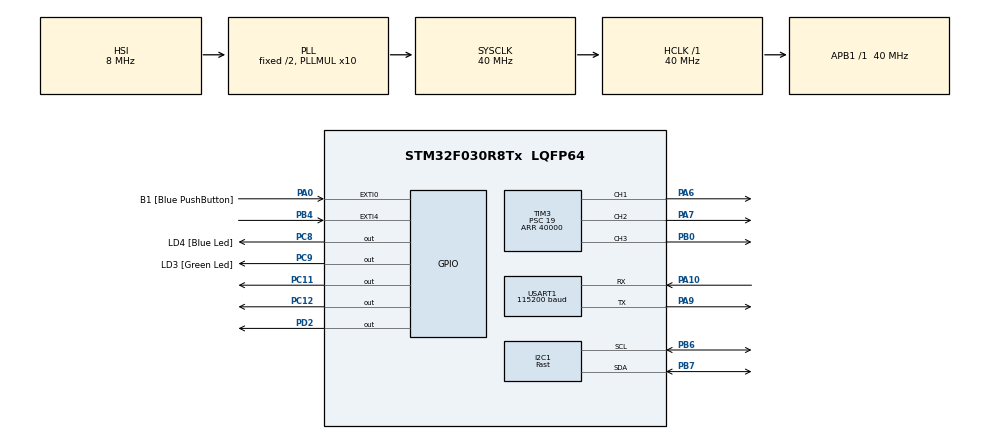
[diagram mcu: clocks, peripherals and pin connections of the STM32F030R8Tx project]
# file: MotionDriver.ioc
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I2C1.I2C_Speed_Mode=I2C_Fast
I2C1.Speed=400
I2C1.Timing=0x0000020B
Mcu.Family=STM32F0
Mcu.Name=STM32F030R8Tx
Mcu.Package=LQFP64
NVIC.EXTI4_15_IRQn=true\:0\:0\:false\:false\:true
NVIC.USART1_IRQn=true\:0\:0\:false\:false\:true
PA0.GPIO_Label=B1 [Blue PushButton]
PA0.GPIO_ModeDefaultEXTI=GPIO_MODE_EVT_RISING
PA0.Signal=GPXTI0
PA10.Mode=Asynchronous
PA10.Signal=USART1_RX
PA13.GPIO_Label=SWDIO
PA13.Signal=SYS_SWDIO
PA14.GPIO_Label=SWCLK
PA14.Signal=SYS_SWCLK
PA6.Signal=S_TIM3_CH1
PA7.Signal=S_TIM3_CH2
PA9.Mode=Asynchronous
PA9.Signal=USART1_TX
PB0.Signal=S_TIM3_CH3
PB4.Signal=GPXTI4
PB6.Mode=I2C
PB6.Signal=I2C1_SCL
PB7.Mode=I2C
PB7.Signal=I2C1_SDA
PC11.Signal=GPIO_Output
PC12.Signal=GPIO_Output
PC8.GPIO_Label=LD4 [Blue Led]
PC8.Signal=GPIO_Output
PC9.GPIO_Label=LD3 [Green Led]
PC9.Signal=GPIO_Output
PD2.Signal=GPIO_Output
ProjectManager.HeapSize=0x200
ProjectManager.StackSize=0x400
ProjectManager.TargetToolchain=MDK-ARM V5
RCC.AHBFreq_Value=40000000
RCC.APB1Freq_Value=40000000
RCC.APB1TimFreq_Value=40000000
RCC.HCLKFreq_Value=40000000
RCC.PLLMUL=RCC_PLL_MUL10
RCC.SYSCLKFreq_VALUE=40000000
RCC.SYSCLKSource=RCC_SYSCLKSOURCE_PLLCLK
SH.S_TIM3_CH1.0=TIM3_CH1,PWM Generation1 CH1
SH.S_TIM3_CH2.0=TIM3_CH2,PWM Generation2 CH2
SH.S_TIM3_CH3.0=TIM3_CH3,PWM Generation3 CH3
TIM3.Channel-PWM\ Generation1\ CH1=TIM_CHANNEL_1
TIM3.Channel-PWM\ Generation2\ CH2=TIM_CHANNEL_2
TIM3.Channel-PWM\ Generation3\ CH3=TIM_CHANNEL_3
TIM3.Period=40000
TIM3.Prescaler=19
TIM3.Pulse-PWM\ Generation1\ CH1=2000
TIM3.Pulse-PWM\ Generation2\ CH2=2000
TIM3.Pulse-PWM\ Generation3\ CH3=2000
USART1.BaudRate=115200
USART1.VirtualMode-Asynchronous=VM_ASYNC
VP_TIM3_VS_ClockSourceINT.Mode=Internal
board=STM32F0308-DISCO

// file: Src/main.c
/**
  ******************************************************************************
  * File Name          : main.c
  * Description        : Main program body
  ******************************************************************************
  ** This notice applies to any and all portions of this file
  * that are not between comment pairs USER CODE BEGIN and
  * USER CODE END. Other portions of this file, whether
  * inserted by the user or by software development tools
  * are owned by their respective copyright owners.
  *
  * COPYRIGHT(c) 2017 STMicroelectronics
  *
  * Redistribution and use in source and binary forms, with or without modification,
  * are permitted provided that the following conditions are met:
  *   1. Redistributions of source code must retain the above copyright notice,
  *      this list of conditions and the following disclaimer.
  *   2. Redistributions in binary form must reproduce the above copyright notice,
  *      this list of conditions and the following disclaimer in the documentation
  *      and/or other materials provided with the distribution.
  *   3. Neither the name of STMicroelectronics nor the names of its contributors
  *      may be used to endorse or promote products derived from this software
  *      without specific prior written permission.
  *
  * THIS SOFTWARE IS PROVIDED BY THE COPYRIGHT HOLDERS AND CONTRIBUTORS "AS IS"
  * AND ANY EXPRESS OR IMPLIED WARRANTIES, INCLUDING, BUT NOT LIMITED TO, THE
  * IMPLIED WARRANTIES OF MERCHANTABILITY AND FITNESS FOR A PARTICULAR PURPOSE ARE
  * DISCLAIMED. IN NO EVENT SHALL THE COPYRIGHT HOLDER OR CONTRIBUTORS BE LIABLE
  * FOR ANY DIRECT, INDIRECT, INCIDENTAL, SPECIAL, EXEMPLARY, OR CONSEQUENTIAL
  * DAMAGES (INCLUDING, BUT NOT LIMITED TO, PROCUREMENT OF SUBSTITUTE GOODS OR
  * SERVICES; LOSS OF USE, DATA, OR PROFITS; OR BUSINESS INTERRUPTION) HOWEVER
  * CAUSED AND ON ANY THEORY OF LIABILITY, WHETHER IN CONTRACT, STRICT LIABILITY,
  * OR TORT (INCLUDING NEGLIGENCE OR OTHERWISE) ARISING IN ANY WAY OUT OF THE USE
  * OF THIS SOFTWARE, EVEN IF ADVISED OF THE POSSIBILITY OF SUCH DAMAGE.
  *
  ******************************************************************************
  */
#include "main.h"
#include "stm32f0xx_hal.h"
#include "i2c.h"
#include "tim.h"
#include "usart.h"
#include "gpio.h"

/* USER CODE BEGIN Includes */
#include "inv_mpu.h"
#include "inv_mpu_dmp_motion_driver.h"
#include <string.h>
#include "interrupts.h"
#include <math.h>
/* Data requested by client. */
#define PRINT_ACCEL     (0x01)
#define PRINT_GYRO      (0x02)
#define PRINT_QUAT      (0x04)

#define ACCEL_ON        (0x01)
#define GYRO_ON         (0x02)

#define MOTION          (0)
#define NO_MOTION       (1)

/* Starting sampling rate. */
#define DEFAULT_MPU_HZ  (100)

/* USER CODE END Includes */

/* USER CODE BEGIN PV */
/* Private variables ---------------------------------------------------------*/

/* USER CODE END PV */

void SystemClock_Config(void);

/* USER CODE BEGIN PFP */
/* Private function prototypes -----------------------------------------------*/

/* USER CODE END PFP */

/* USER CODE BEGIN 0 */

struct rx_s {
    unsigned char header[3];
    unsigned char cmd;
};

struct hal_s {
    unsigned char sensors;
    unsigned char dmp_on;
    unsigned char wait_for_tap;
    volatile unsigned char new_gyro;
    unsigned short report;
    unsigned short dmp_features;
    unsigned char motion_int_mode;
    struct rx_s rx;
};
static struct hal_s hal = {0};

/* The sensors can be mounted onto the board in any orientation. The mounting
 * matrix seen below tells the MPL how to rotate the raw data from thei
 * driver(s).
 * TODO: The following matrices refer to the configuration on an internal test
 * board at Invensense. If needed, please modify the matrices to match the
 * chip-to-body matrix for your particular set up.
 */
static signed char gyro_orientation[9] = {-1, 0, 0,
                                           0,-1, 0,
                                           0, 0, 1};

																					 enum packet_type_e {
    PACKET_TYPE_ACCEL,
    PACKET_TYPE_GYRO,
    PACKET_TYPE_QUAT,
    PACKET_TYPE_TAP,
    PACKET_TYPE_ANDROID_ORIENT,
    PACKET_TYPE_PEDO,
    PACKET_TYPE_MISC
};

/* Send data to the Python client application.
 * Data is formatted as follows:
 * packet[0]    = $
 * packet[1]    = packet type (see packet_type_e)
 * packet[2+]   = data
 */
void send_packet(char packet_type, void *data)
{
#define MAX_BUF_LENGTH  (18)
    char buf[MAX_BUF_LENGTH], length;

    memset(buf, 0, MAX_BUF_LENGTH);
    buf[0] = '$';
    buf[1] = packet_type;

    if (packet_type == PACKET_TYPE_ACCEL || packet_type == PACKET_TYPE_GYRO) {
        short *sdata = (short*)data;
        buf[2] = (char)(sdata[0] >> 8);
        buf[3] = (char)sdata[0];
        buf[4] = (char)(sdata[1] >> 8);
        buf[5] = (char)sdata[1];
        buf[6] = (char)(sdata[2] >> 8);
        buf[7] = (char)sdata[2];
        length = 8;
    } else if (packet_type == PACKET_TYPE_QUAT) {
        long *ldata = (long*)data;
        buf[2] = (char)(ldata[0] >> 24);
        buf[3] = (char)(ldata[0] >> 16);
        buf[4] = (char)(ldata[0] >> 8);
        buf[5] = (char)ldata[0];
        buf[6] = (char)(ldata[1] >> 24);
        buf[7] = (char)(ldata[1] >> 16);
        buf[8] = (char)(ldata[1] >> 8);
        buf[9] = (char)ldata[1];
        buf[10] = (char)(ldata[2] >> 24);
        buf[11] = (char)(ldata[2] >> 16);
        buf[12] = (char)(ldata[2] >> 8);
        buf[13] = (char)ldata[2];
        buf[14] = (char)(ldata[3] >> 24);
        buf[15] = (char)(ldata[3] >> 16);
        buf[16] = (char)(ldata[3] >> 8);
        buf[17] = (char)ldata[3];
        length = 18;
    } else if (packet_type == PACKET_TYPE_TAP) {
        buf[2] = ((char*)data)[0];
        buf[3] = ((char*)data)[1];
        length = 4;
    } else if (packet_type == PACKET_TYPE_ANDROID_ORIENT) {
        buf[2] = ((char*)data)[0];
        length = 3;
    } else if (packet_type == PACKET_TYPE_PEDO) {
        long *ldata = (long*)data;
        buf[2] = (char)(ldata[0] >> 24);
        buf[3] = (char)(ldata[0] >> 16);
        buf[4] = (char)(ldata[0] >> 8);
        buf[5] = (char)ldata[0];
        buf[6] = (char)(ldata[1] >> 24);
        buf[7] = (char)(ldata[1] >> 16);
        buf[8] = (char)(ldata[1] >> 8);
        buf[9] = (char)ldata[1];
        length = 10;
    } else if (packet_type == PACKET_TYPE_MISC) {
        buf[2] = ((char*)data)[0];
        buf[3] = ((char*)data)[1];
        buf[4] = ((char*)data)[2];
        buf[5] = ((char*)data)[3];
        length = 6;
    }
    //cdcSendDataWaitTilDone((BYTE*)buf, length, CDC0_INTFNUM, 100);
		HAL_UART_Transmit(&huart1,(uint8_t *) buf, length, 100);
}

/* These next two functions converts the orientation matrix (see
 * gyro_orientation) to a scalar representation for use by the DMP.
 * NOTE: These functions are borrowed from Invensense's MPL.
 */
static inline unsigned short inv_row_2_scale(const signed char *row)
{
    unsigned short b;

    if (row[0] > 0)
        b = 0;
    else if (row[0] < 0)
        b = 4;
    else if (row[1] > 0)
        b = 1;
    else if (row[1] < 0)
        b = 5;
    else if (row[2] > 0)
        b = 2;
    else if (row[2] < 0)
        b = 6;
    else
        b = 7;      // error
    return b;
}

static inline unsigned short inv_orientation_matrix_to_scalar(
    const signed char *mtx)
{
    unsigned short scalar;

    /*
       XYZ  010_001_000 Identity Matrix
       XZY  001_010_000
       YXZ  010_000_001
       YZX  000_010_001
       ZXY  001_000_010
       ZYX  000_001_010
     */

    scalar = inv_row_2_scale(mtx);
    scalar |= inv_row_2_scale(mtx + 3) << 3;
    scalar |= inv_row_2_scale(mtx + 6) << 6;

    return scalar;
}

/* Handle sensor on/off combinations. */
static void setup_gyro(void)
{
    unsigned char mask = 0;
    if (hal.sensors & ACCEL_ON)
        mask |= INV_XYZ_ACCEL;
    if (hal.sensors & GYRO_ON)
        mask |= INV_XYZ_GYRO;
    /* If you need a power transition, this function should be called with a
     * mask of the sensors still enabled. The driver turns off any sensors
     * excluded from this mask.
     */
    mpu_set_sensors(mask);
    if (!hal.dmp_on)
        mpu_configure_fifo(mask);
}

static void tap_cb(unsigned char direction, unsigned char count)
{
    char data[2];
    data[0] = (char)direction;
    data[1] = (char)count;
    send_packet(PACKET_TYPE_TAP, data);
}

static void android_orient_cb(unsigned char orientation)
{
    send_packet(PACKET_TYPE_ANDROID_ORIENT, &orientation);
}

static inline void run_self_test(void)
{
    int result;
    char test_packet[4] = {0};
    long gyro[3], accel[3];
    unsigned char i = 0;

#if defined (MPU6500) || defined (MPU9250)
    result = mpu_run_6500_self_test(gyro, accel, 0);
#elif defined (MPU6050) || defined (MPU9150)
    result = mpu_run_self_test(gyro, accel);
#endif
    if (result == 0x7) {
        /* Test passed. We can trust the gyro data here, so let's push it down
         * to the DMP.
         */
        for(i = 0; i<3; i++) {
        	gyro[i] = (long)(gyro[i] * 32.8f); //convert to +-1000dps
        	accel[i] *= 2048.f; //convert to +-16G
        	accel[i] = accel[i] >> 16;
        	gyro[i] = (long)(gyro[i] >> 16);
        }

        mpu_set_gyro_bias_reg(gyro);

#if defined (MPU6500) || defined (MPU9250)
        mpu_set_accel_bias_6500_reg(accel);
#elif defined (MPU6050) || defined (MPU9150)
        mpu_set_accel_bias_6050_reg(accel);
#endif
    }

    /* Report results. */
    test_packet[0] = 't';
    test_packet[1] = result;
    send_packet(PACKET_TYPE_MISC, test_packet);
}

static void handle_input(void)
{
    char c;
    const unsigned char header[3] = "inv";
    unsigned long pedo_packet[2];

    /* Read incoming byte and check for header.
     * Technically, the MSP430 USB stack can handle more than one byte at a
     * time. This example allows for easily switching to UART if porting to a
     * different microcontroller.
     */
    //rx_new = 0;
		clearReceivedData();
    //cdcReceiveDataInBuffer((BYTE*)&c, 1, CDC0_INTFNUM);
		HAL_UART_Receive(&huart1,(uint8_t *)&c,1, 200);
    if (hal.rx.header[0] == header[0]) {
        if (hal.rx.header[1] == header[1]) {
            if (hal.rx.header[2] == header[2]) {
                memset(&hal.rx.header, 0, sizeof(hal.rx.header));
                hal.rx.cmd = c;
            } else if (c == header[2])
                hal.rx.header[2] = c;
            else
                memset(&hal.rx.header, 0, sizeof(hal.rx.header));
        } else if (c == header[1])
            hal.rx.header[1] = c;
        else
            memset(&hal.rx.header, 0, sizeof(hal.rx.header));
    } else if (c == header[0])
        hal.rx.header[0] = header[0];
    if (!hal.rx.cmd)
        return;

    switch (hal.rx.cmd) {
    /* These commands turn the hardware sensors on/off. */
    case '8':
        if (!hal.dmp_on) {
            /* Accel and gyro need to be on for the DMP features to work
             * properly.
             */
            hal.sensors ^= ACCEL_ON;
            setup_gyro();
        }
        break;
    case '9':
        if (!hal.dmp_on) {
            hal.sensors ^= GYRO_ON;
            setup_gyro();
        }
        break;
    /* The commands start/stop sending data to the client. */
    case 'a':
        hal.report ^= PRINT_ACCEL;
        break;
    case 'g':
        hal.report ^= PRINT_GYRO;
        break;
    case 'q':
        hal.report ^= PRINT_QUAT;
        break;
    /* The hardware self test can be run without any interaction with the
     * MPL since it's completely localized in the gyro driver. Logging is
     * assumed to be enabled; otherwise, a couple LEDs could probably be used
     * here to display the test results.
     */
    case 't':
        run_self_test();
        break;
    /* Depending on your application, sensor data may be needed at a faster or
     * slower rate. These commands can speed up or slow down the rate at which
     * the sensor data is pushed to the MPL.
     *
     * In this example, the compass rate is never changed.
     */
    case '1':
        if (hal.dmp_on)
            dmp_set_fifo_rate(10);
        else
            mpu_set_sample_rate(10);
        break;
    case '2':
        if (hal.dmp_on)
            dmp_set_fifo_rate(20);
        else
            mpu_set_sample_rate(20);
        break;
    case '3':
        if (hal.dmp_on)
            dmp_set_fifo_rate(40);
        else
            mpu_set_sample_rate(40);
        break;
    case '4':
        if (hal.dmp_on)
            dmp_set_fifo_rate(50);
        else
            mpu_set_sample_rate(50);
        break;
    case '5':
        if (hal.dmp_on)
            dmp_set_fifo_rate(100);
        else
            mpu_set_sample_rate(100);
        break;
    case '6':
        if (hal.dmp_on)
            dmp_set_fifo_rate(200);
        else
            mpu_set_sample_rate(200);
        break;
	case ',':
        /* Set hardware to interrupt on gesture event only. This feature is
         * useful for keeping the MCU asleep until the DMP detects as a tap or
         * orientation event.
         */
        dmp_set_interrupt_mode(DMP_INT_GESTURE);
        break;
    case '.':
        /* Set hardware to interrupt periodically. */
        dmp_set_interrupt_mode(DMP_INT_CONTINUOUS);
        break;
    case '7':
        /* Reset pedometer. */
        dmp_set_pedometer_step_count(0);
        dmp_set_pedometer_walk_time(0);
        break;
    case 'f':
        if (hal.dmp_on) {
        /* Toggle DMP. */
            unsigned short dmp_rate;
            hal.dmp_on = 0;
            mpu_set_dmp_state(0);
            /* Restore FIFO settings. */
            mpu_configure_fifo(INV_XYZ_ACCEL | INV_XYZ_GYRO);
            /* When the DMP is used, the hardware sampling rate is fixed at
             * 200Hz, and the DMP is configured to downsample the FIFO output
             * using the function dmp_set_fifo_rate. However, when the DMP is
             * turned off, the sampling rate remains at 200Hz. This could be
             * handled in inv_mpu.c, but it would need to know that
             * inv_mpu_dmp_motion_driver.c exists. To avoid this, we'll just
             * put the extra logic in the application layer.
             */
            dmp_get_fifo_rate(&dmp_rate);
            mpu_set_sample_rate(dmp_rate);
        } else {
            unsigned short sample_rate;
            hal.dmp_on = 1;
            /* Both gyro and accel must be on. */
            hal.sensors |= ACCEL_ON | GYRO_ON;
            mpu_set_sensors(INV_XYZ_ACCEL | INV_XYZ_GYRO);
            mpu_configure_fifo(INV_XYZ_ACCEL | INV_XYZ_GYRO);
            /* Preserve current FIFO rate. */
            mpu_get_sample_rate(&sample_rate);
            dmp_set_fifo_rate(sample_rate);
            mpu_set_dmp_state(1);
        }
        break;
    case 'm':
        /* Test the motion interrupt hardware feature. */
		#ifndef MPU6050 // not enabled for 6050 product
		hal.motion_int_mode = 1;
		#endif
        break;
    case 'p':
        /* Read current pedometer count. */
        dmp_get_pedometer_step_count(pedo_packet);
        dmp_get_pedometer_walk_time(pedo_packet + 1);
        send_packet(PACKET_TYPE_PEDO, pedo_packet);
        break;
    case 'x':
//        msp430_reset();
        break;
    case 'v':
        /* Toggle LP quaternion.
         * The DMP features can be enabled/disabled at runtime. Use this same
         * approach for other features.
         */
        hal.dmp_features ^= DMP_FEATURE_6X_LP_QUAT;
        dmp_enable_feature(hal.dmp_features);
        break;
    default:
        break;
    }
    hal.rx.cmd = 0;
}

/* Every time new gyro data is available, this function is called in an
 * ISR context. In this example, it sets a flag protecting the FIFO read
 * function.
 */
void gyro_data_ready_cb(void)
{
    hal.new_gyro = 1;
		HAL_GPIO_TogglePin(GPIOC, GPIO_PIN_12);
}

volatile static short gyro[3], accel[3], sensors;
volatile  static short ax, ay, az;
volatile static float quat1, quat2, quat3, quat4;
volatile static float q1, q2, q3, q4;
volatile static float eul1, eul2, eul3;
volatile static float yaw, pitch, roll;
volatile static float Fyaw, Fpitch, Froll;
volatile static float Nyaw, Npitch, Nroll;

volatile static float debug1;

#define PI (3.14159265)

/* USER CODE END 0 */

int main(void)
{

  /* MCU Configuration----------------------------------------------------------*/

  /* Reset of all peripherals, Initializes the Flash interface and the Systick. */
  HAL_Init();

  /* Configure the system clock */
  SystemClock_Config();

  /* Initialize all configured peripherals */
  MX_GPIO_Init();
  MX_USART1_UART_Init();
  MX_I2C1_Init();
  MX_TIM3_Init();

  /* USER CODE BEGIN 2 */
		//__disable_irq();
		int initFilters();
		HAL_TIM_PWM_Start(&htim3, TIM_CHANNEL_1);
		HAL_TIM_PWM_Start(&htim3, TIM_CHANNEL_2);
		HAL_TIM_PWM_Start(&htim3, TIM_CHANNEL_3);

    volatile int result;
    unsigned char accel_fsr;
    unsigned short gyro_rate, gyro_fsr;
    unsigned long timestamp;
    //struct int_param_s int_param;

		//int_param.cb = gyro_data_ready_cb;
    //int_param.pin = INT_PIN_P20;
    //int_param.lp_exit = INT_EXIT_LPM0;
    //int_param.active_low = 1;
    result = mpu_init(NULL);

		 /* If you're not using an MPU9150 AND you're not using DMP features, this
     * function will place all slaves on the primary bus.
     * mpu_set_bypass(1);
     */

    /* Get/set hardware configuration. Start gyro. */
    /* Wake up all sensors. */
    mpu_set_sensors(INV_XYZ_GYRO | INV_XYZ_ACCEL);
    /* Push both gyro and accel data into the FIFO. */
    mpu_configure_fifo(INV_XYZ_GYRO | INV_XYZ_ACCEL);
    mpu_set_sample_rate(DEFAULT_MPU_HZ);
    /* Read back configuration in case it was set improperly. */
    mpu_get_sample_rate(&gyro_rate);
    mpu_get_gyro_fsr(&gyro_fsr);
    mpu_get_accel_fsr(&accel_fsr);

		/* Initialize HAL state variables. */
    memset(&hal, 0, sizeof(hal));
    hal.sensors = ACCEL_ON | GYRO_ON;
    hal.report = PRINT_QUAT;

		    /* To initialize the DMP:
     * 1. Call dmp_load_motion_driver_firmware(). This pushes the DMP image in
     *    inv_mpu_dmp_motion_driver.h into the MPU memory.
     * 2. Push the gyro and accel orientation matrix to the DMP.
     * 3. Register gesture callbacks. Don't worry, these callbacks won't be
     *    executed unless the corresponding feature is enabled.
     * 4. Call dmp_enable_feature(mask) to enable different features.
     * 5. Call dmp_set_fifo_rate(freq) to select a DMP output rate.
     * 6. Call any feature-specific control functions.
     *
     * To enable the DMP, just call mpu_set_dmp_state(1). This function can
     * be called repeatedly to enable and disable the DMP at runtime.
     *
     * The following is a short summary of the features supported in the DMP
     * image provided in inv_mpu_dmp_motion_driver.c:
     * DMP_FEATURE_LP_QUAT: Generate a gyro-only quaternion on the DMP at
     * 200Hz. Integrating the gyro data at higher rates reduces numerical
     * errors (compared to integration on the MCU at a lower sampling rate).
     * DMP_FEATURE_6X_LP_QUAT: Generate a gyro/accel quaternion on the DMP at
     * 200Hz. Cannot be used in combination with DMP_FEATURE_LP_QUAT.
     * DMP_FEATURE_TAP: Detect taps along the X, Y, and Z axes.
     * DMP_FEATURE_ANDROID_ORIENT: Google's screen rotation algorithm. Triggers
     * an event at the four orientations where the screen should rotate.
     * DMP_FEATURE_GYRO_CAL: Calibrates the gyro data after eight seconds of
     * no motion.
     * DMP_FEATURE_SEND_RAW_ACCEL: Add raw accelerometer data to the FIFO.
     * DMP_FEATURE_SEND_RAW_GYRO: Add raw gyro data to the FIFO.
     * DMP_FEATURE_SEND_CAL_GYRO: Add calibrated gyro data to the FIFO. Cannot
     * be used in combination with DMP_FEATURE_SEND_RAW_GYRO.
     */
    dmp_load_motion_driver_firmware();
    dmp_set_orientation(
        inv_orientation_matrix_to_scalar(gyro_orientation));
    dmp_register_tap_cb(tap_cb);
    dmp_register_android_orient_cb(android_orient_cb);

		    /*
     * Known Bug -
     * DMP when enabled will sample sensor data at 200Hz and output to FIFO at the rate
     * specified in the dmp_set_fifo_rate API. The DMP will then sent an interrupt once
     * a sample has been put into the FIFO. Therefore if the dmp_set_fifo_rate is at 25Hz
     * there will be a 25Hz interrupt from the MPU device.
     *
     * There is a known issue in which if you do not enable DMP_FEATURE_TAP
     * then the interrupts will be at 200Hz even if fifo rate
     * is set at a different rate. To avoid this issue include the DMP_FEATURE_TAP
     */
    hal.dmp_features = DMP_FEATURE_6X_LP_QUAT | DMP_FEATURE_TAP |
        DMP_FEATURE_ANDROID_ORIENT | DMP_FEATURE_SEND_RAW_ACCEL | DMP_FEATURE_SEND_CAL_GYRO |
        DMP_FEATURE_GYRO_CAL;
    dmp_enable_feature(hal.dmp_features);
    dmp_set_fifo_rate(DEFAULT_MPU_HZ);
    mpu_set_dmp_state(1);
    hal.dmp_on = 1;

		volatile static int cntr=0;

		updateChannel1(2000);
		//USB , i think they mean serial in my case, should be active
		//__enable_irq();
  /* USER CODE END 2 */

  /* Infinite loop */
  /* USER CODE BEGIN WHILE */
  while (1)
  {

		        unsigned long sensor_timestamp;
//        //if (rx_new)
//				if(getReceivedData())
//            /* A byte has been received via USB. See handle_input for a list of
//             * valid commands.
//             */
//            handle_input();
//        //msp430_get_clock_ms(&timestamp);
				timestamp=HAL_GetTick();

//        if (hal.motion_int_mode) {
//            /* Enable motion interrupt. */
//			mpu_lp_motion_interrupt(500, 1, 5);
//            hal.new_gyro = 0;
//            /* Wait for the MPU interrupt. */
//            while (!hal.new_gyro);
//                //__bis_SR_register(LPM0_bits + GIE);
//            /* Restore the previous sensor configuration. */
//            mpu_lp_motion_interrupt(0, 0, 0);
//            hal.motion_int_mode = 0;
//        }
//
//				if (!hal.sensors || !hal.new_gyro) {
//            /* Put the MSP430 to sleep until a timer interrupt or data ready
//             * interrupt is detected.
//             */
//            //__bis_SR_register(LPM0_bits + GIE);
//            continue;
//        }
//			*\
				if (hal.new_gyro && hal.dmp_on) {

            //volatile static short gyro[3], accel[3], sensors;
					//volatile  static short ax, ay, az;
            unsigned char more;
            long quat[4];
            /* This function gets new data from the FIFO when the DMP is in
             * use. The FIFO can contain any combination of gyro, accel,
             * quaternion, and gesture data. The sensors parameter tells the
             * caller which data fields were actually populated with new data.
             * For example, if sensors == (INV_XYZ_GYRO | INV_WXYZ_QUAT), then
             * the FIFO isn't being filled with accel data.
             * The driver parses the gesture data to determine if a gesture
             * event has occurred; on an event, the application will be notified
             * via a callback (assuming that a callback function was properly
             * registered). The more parameter is non-zero if there are
             * leftover packets in the FIFO.
             */
						HAL_GPIO_WritePin(GPIOD, GPIO_PIN_2, GPIO_PIN_SET);
            dmp_read_fifo(gyro, accel, quat, &sensor_timestamp, &sensors,
                &more);
						HAL_GPIO_WritePin(GPIOD, GPIO_PIN_2, GPIO_PIN_RESET);
            if (!more)
                hal.new_gyro = 0;
            /* Gyro and accel data are written to the FIFO by the DMP in chip
             * frame and hardware units. This behavior is convenient because it
             * keeps the gyro and accel outputs of dmp_read_fifo and
             * mpu_read_fifo consistent.
             */
						ax=accel[0];
						ay=accel[1];
						az=accel[2];

//						quat1= (float)quat[0] / 16384.0f;
//						quat2= (float)quat[1] / 16384.0f;
//						quat3= (float)quat[2] / 16384.0f;
//						quat4= (float)quat[3] / 16384.0f;

						quat1= quat[0]>>16; //((float)((unsigned long)quat[0]>>16))/ 16384.0f;
						quat2= quat[1]>>16; //((float)((unsigned long)quat[1]>>16))/ 16384.0f;
						quat3= quat[2]>>16; //((float)((unsigned long)quat[2]>>16))/ 16384.0f;
						quat4= quat[3]>>16; //((float)((unsigned long)quat[3]>>16))/ 16384.0f;

						q1= quat1/ 16383.0f;
						q2= quat2/ 16383.0f;
						q3= quat3/ 16383.0f;
						q4= quat4/ 16383.0f;

						eul1 = atan2(2*quat2*quat3 - 2*quat1*quat4, 2*quat1*quat1 + 2*quat2*quat2 - 1);   // psi
						eul2 = -asin(2*quat2*quat4 + 2*quat1*quat3);                              // theta
						eul3 = atan2(2*quat3*quat4 - 2*quat1*quat2, 2*quat1*quat1 + 2*quat4*quat4 - 1);   // phi
//						eul1=eul1*180/PI;
//						eul2=eul2*180/PI;
//						eul3=eul3*180/PI;
						debug1= 2*quat2*quat4 + 2*quat1*quat3;
//						yaw = atan2(2.0*(quat3*quat4 + quat1*quat2), quat1*quat1 - quat2*quat2 - quat3*quat3 + quat4*quat4);
//						pitch = asin(-2.0*(quat2*quat4 - quat1*quat3));
//						roll = atan2(2.0*(quat2*quat3 + quat1*quat4), quat1*quat1 + quat2*quat2 - quat3*quat3 - quat4*quat4);

							// roll (x-axis rotation)
						double sinr = +2.0 * (q1 * q2 + q3 * q4);
						double cosr = +1.0 - 2.0 * (q2 * q2 + q3 * q3);
						roll = atan2(sinr, cosr);

						// pitch (y-axis rotation)
						double sinp = +2.0 * (q1 * q3 - q4 * q2);
						if (fabs(sinp) >= 1)
            pitch = copysign(PI / 2, sinp); // use 90 degrees if out of range
							else
						pitch = asin(sinp);

						// yaw (z-axis rotation)
						double siny = +2.0 * (q1 * q4 + q2 * q3);
						double cosy = +1.0 - 2.0 * (q3 * q3 + q4 * q4);
						yaw = atan2(siny, cosy);
						Fyaw= yaw*180/PI;
						Fpitch= pitch*180/PI;
						Froll= roll*180/PI;

						Nyaw=2850.0f-(Fyaw*25.0f);
						Npitch= 2800.0f-(Fpitch*25.0f);
						Nroll=2550.0f+(Froll*25.0f);

						updateChannel1((int)Nyaw);
						updateChannel2((int)Npitch);
						updateChannel3((int)Nroll);

//            if (sensors & INV_XYZ_GYRO && hal.report & PRINT_GYRO)
//                send_packet(PACKET_TYPE_GYRO, gyro);
//            if (sensors & INV_XYZ_ACCEL && hal.report & PRINT_ACCEL)
//                send_packet(PACKET_TYPE_ACCEL, accel);

//            /* Unlike gyro and accel, quaternions are written to the FIFO in
//             * the body frame, q30. The orientation is set by the scalar passed
//             * to dmp_set_orientation during initialization.
//             */
//            if (sensors & INV_WXYZ_QUAT && hal.report & PRINT_QUAT)
//                send_packet(PACKET_TYPE_QUAT, quat);

//						if(cntr++ ==5){
//							cntr=0;
//
//							printf("x= %d y= %d z= %d \n\r", accel[0], accel[1], accel[2]);
//							//HAL_GPIO_WritePin(GPIOD, GPIO_PIN_2, GPIO_PIN_RESET);
//						}

        }

//				else if (hal.new_gyro) {
//            short gyro[3], accel[3];
//            unsigned char sensors, more;
//            /* This function gets new data from the FIFO. The FIFO can contain
//             * gyro, accel, both, or neither. The sensors parameter tells the
//             * caller which data fields were actually populated with new data.
//             * For example, if sensors == INV_XYZ_GYRO, then the FIFO isn't
//             * being filled with accel data. The more parameter is non-zero if
//             * there are leftover packets in the FIFO.
//             */
//            mpu_read_fifo(gyro, accel, &sensor_timestamp, &sensors, &more);
//            if (!more)
//                hal.new_gyro = 0;
//            if (sensors & INV_XYZ_GYRO && hal.report & PRINT_GYRO)
//                send_packet(PACKET_TYPE_GYRO, gyro);
//            if (sensors & INV_XYZ_ACCEL && hal.report & PRINT_ACCEL)
//                send_packet(PACKET_TYPE_ACCEL, accel);
//        }

  /* USER CODE END WHILE */

  }

}

/** System Clock Configuration
*/
void SystemClock_Config(void)
{

  RCC_OscInitTypeDef RCC_OscInitStruct;
  RCC_ClkInitTypeDef RCC_ClkInitStruct;
  RCC_PeriphCLKInitTypeDef PeriphClkInit;

    /**Initializes the CPU, AHB and APB busses clocks
    */
  RCC_OscInitStruct.OscillatorType = RCC_OSCILLATORTYPE_HSI;
  RCC_OscInitStruct.HSIState = RCC_HSI_ON;
  RCC_OscInitStruct.HSICalibrationValue = 16;
  RCC_OscInitStruct.PLL.PLLState = RCC_PLL_ON;
  RCC_OscInitStruct.PLL.PLLSource = RCC_PLLSOURCE_HSI;
  RCC_OscInitStruct.PLL.PLLMUL = RCC_PLL_MUL10;
  RCC_OscInitStruct.PLL.PREDIV = RCC_PREDIV_DIV1;
  if (HAL_RCC_OscConfig(&RCC_OscInitStruct) != HAL_OK)
  {
    _Error_Handler(__FILE__, __LINE__);
  }

    /**Initializes the CPU, AHB and APB busses clocks
    */
  RCC_ClkInitStruct.ClockType = RCC_CLOCKTYPE_HCLK|RCC_CLOCKTYPE_SYSCLK
                              |RCC_CLOCKTYPE_PCLK1;
  RCC_ClkInitStruct.SYSCLKSource = RCC_SYSCLKSOURCE_PLLCLK;
  RCC_ClkInitStruct.AHBCLKDivider = RCC_SYSCLK_DIV1;
  RCC_ClkInitStruct.APB1CLKDivider = RCC_HCLK_DIV1;

  if (HAL_RCC_ClockConfig(&RCC_ClkInitStruct, FLASH_LATENCY_1) != HAL_OK)
  {
    _Error_Handler(__FILE__, __LINE__);
  }

  PeriphClkInit.PeriphClockSelection = RCC_PERIPHCLK_USART1|RCC_PERIPHCLK_I2C1;
  PeriphClkInit.Usart1ClockSelection = RCC_USART1CLKSOURCE_PCLK1;
  PeriphClkInit.I2c1ClockSelection = RCC_I2C1CLKSOURCE_HSI;
  if (HAL_RCCEx_PeriphCLKConfig(&PeriphClkInit) != HAL_OK)
  {
    _Error_Handler(__FILE__, __LINE__);
  }

    /**Configure the Systick interrupt time
    */
  HAL_SYSTICK_Config(HAL_RCC_GetHCLKFreq()/1000);

    /**Configure the Systick
    */
  HAL_SYSTICK_CLKSourceConfig(SYSTICK_CLKSOURCE_HCLK);

  /* SysTick_IRQn interrupt configuration */
  HAL_NVIC_SetPriority(SysTick_IRQn, 0, 0);
}

void _Error_Handler(char * file, int line)
{
  while(1)
  {
  }
}

/************************ (C) COPYRIGHT STMicroelectronics *****END OF FILE****/
